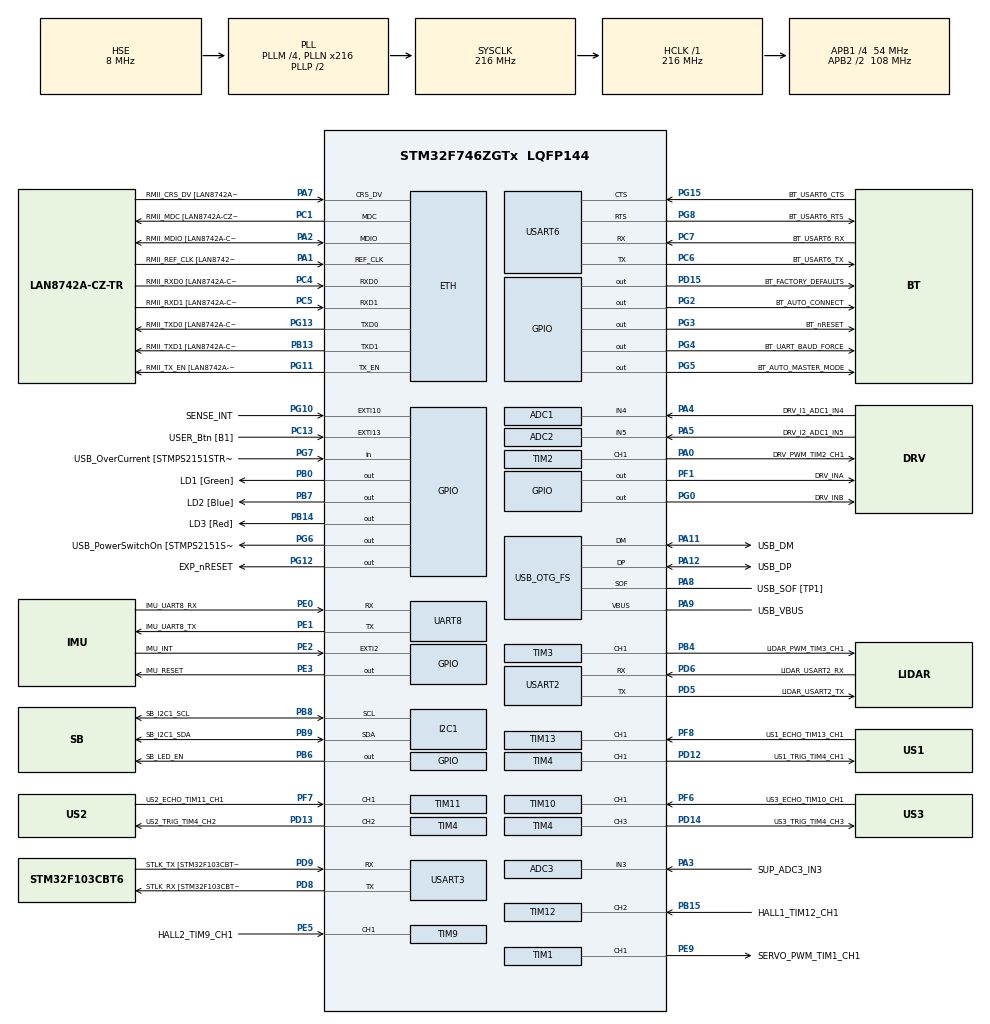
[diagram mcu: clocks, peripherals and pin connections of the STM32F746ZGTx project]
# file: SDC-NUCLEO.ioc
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ADC1.Channel-0\#ChannelRegularConversion=ADC_CHANNEL_4
ADC1.NbrOfConversionFlag=1
ADC1.Rank-0\#ChannelRegularConversion=1
ADC1.SamplingTime-0\#ChannelRegularConversion=ADC_SAMPLETIME_3CYCLES
ADC1.master=1
ADC2.Channel-3\#ChannelRegularConversion=ADC_CHANNEL_5
ADC2.NbrOfConversionFlag=1
ADC2.Rank-3\#ChannelRegularConversion=1
ADC2.SamplingTime-3\#ChannelRegularConversion=ADC_SAMPLETIME_3CYCLES
ADC3.Channel-0\#ChannelRegularConversion=ADC_CHANNEL_3
ADC3.NbrOfConversionFlag=1
ADC3.Rank-0\#ChannelRegularConversion=1
ADC3.SamplingTime-0\#ChannelRegularConversion=ADC_SAMPLETIME_3CYCLES
ETH.MediaInterface=ETH_MEDIA_INTERFACE_RMII
ETH.PHY_Name=LAN8742A_PHY_ADDRESS
ETH.PHY_Value=0
ETH.PhyAddress=0
FREERTOS.Tasks01=defaultTask,0,128,StartDefaultTask,Default,NULL
I2C1.Timing=0x20404768
Mcu.Family=STM32F7
Mcu.Name=STM32F746ZGTx
Mcu.Package=LQFP144
NVIC.PriorityGroup=NVIC_PRIORITYGROUP_4
NVIC.TIM8_TRG_COM_TIM14_IRQn=true\:0\:0\:false\:false\:true\:false\:false
NVIC.TimeBase=TIM8_TRG_COM_TIM14_IRQn
NVIC.TimeBaseIP=TIM14
NVIC.USART3_IRQn=true\:5\:0\:false\:false\:true\:true\:true
NVIC.USART6_IRQn=true\:5\:0\:false\:false\:true\:true\:true
PA0/WKUP.GPIO_Label=DRV_PWM_TIM2_CH1
PA0/WKUP.Signal=S_TIM2_CH1_ETR
PA1.GPIO_Label=RMII_REF_CLK [LAN8742A-CZ-TR_REFCLK0]
PA1.Mode=RMII
PA1.Signal=ETH_REF_CLK
PA10.GPIO_Label=USB_ID
PA10.Signal=USB_OTG_FS_ID
PA11.GPIO_Label=USB_DM
PA11.Mode=Device_Only
PA11.Signal=USB_OTG_FS_DM
PA12.GPIO_Label=USB_DP
PA12.Mode=Device_Only
PA12.Signal=USB_OTG_FS_DP
PA13.GPIO_Label=TMS
PA13.Mode=Serial_Wire
PA13.Signal=SYS_JTMS-SWDIO
PA14.GPIO_Label=TCK
PA14.Mode=Serial_Wire
PA14.Signal=SYS_JTCK-SWCLK
PA2.GPIO_Label=RMII_MDIO [LAN8742A-CZ-TR_MDIO]
PA2.Mode=RMII
PA2.Signal=ETH_MDIO
PA3.GPIO_Label=SUP_ADC3_IN3
PA3.Signal=ADCx_IN3
PA4.GPIO_Label=DRV_I1_ADC1_IN4
PA4.Signal=ADCx_IN4
PA5.GPIO_Label=DRV_I2_ADC1_IN5
PA5.Signal=ADCx_IN5
PA7.GPIO_Label=RMII_CRS_DV [LAN8742A-CZ-TR_CRS_DV]
PA7.Mode=RMII
PA7.Signal=ETH_CRS_DV
PA8.GPIO_Label=USB_SOF [TP1]
PA8.Mode=Activate_SOF_FS
PA8.Signal=USB_OTG_FS_SOF
PA9.GPIO_Label=USB_VBUS
PA9.Mode=Activate_VBUS
PA9.Signal=USB_OTG_FS_VBUS
PB0.GPIO_Label=LD1 [Green]
PB0.Signal=GPIO_Output
PB13.GPIO_Label=RMII_TXD1 [LAN8742A-CZ-TR_TXD1]
PB13.Mode=RMII
PB13.Signal=ETH_TXD1
PB14.GPIO_Label=LD3 [Red]
PB14.Signal=GPIO_Output
PB15.GPIO_Label=HALL1_TIM12_CH1
PB15.Signal=S_TIM12_CH2
PB3.GPIO_Label=SW0
PB3.Signal=SYS_JTDO-SWO
PB4.GPIO_Label=LIDAR_PWM_TIM3_CH1
PB4.Signal=S_TIM3_CH1
PB6.GPIO_Label=SB_LED_EN
PB6.Signal=GPIO_Output
PB7.GPIO_Label=LD2 [Blue]
PB7.Signal=GPIO_Output
PB8.GPIO_Label=SB_I2C1_SCL
PB8.Mode=I2C
PB8.Signal=I2C1_SCL
PB9.GPIO_Label=SB_I2C1_SDA
PB9.Mode=I2C
PB9.Signal=I2C1_SDA
PC1.GPIO_Label=RMII_MDC [LAN8742A-CZ-TR_MDC]
PC1.Mode=RMII
PC1.Signal=ETH_MDC
PC13.GPIO_Label=USER_Btn [B1]
PC13.Signal=GPXTI13
PC14/OSC32_IN.Mode=LSE-External-Oscillator
PC14/OSC32_IN.Signal=RCC_OSC32_IN
PC15/OSC32_OUT.Mode=LSE-External-Oscillator
PC15/OSC32_OUT.Signal=RCC_OSC32_OUT
PC4.GPIO_Label=RMII_RXD0 [LAN8742A-CZ-TR_RXD0]
PC4.Mode=RMII
PC4.Signal=ETH_RXD0
PC5.GPIO_Label=RMII_RXD1 [LAN8742A-CZ-TR_RXD1]
PC5.Mode=RMII
PC5.Signal=ETH_RXD1
PC6.GPIO_Label=BT_USART6_TX
PC6.Mode=Asynchronous
PC6.Signal=USART6_TX
PC7.GPIO_Label=BT_USART6_RX
PC7.Mode=Asynchronous
PC7.Signal=USART6_RX
PD12.GPIO_Label=US1_TRIG_TIM4_CH1
PD12.Signal=S_TIM4_CH1
PD13.GPIO_Label=US2_TRIG_TIM4_CH2
PD13.Signal=S_TIM4_CH2
PD14.GPIO_Label=US3_TRIG_TIM4_CH3
PD14.Signal=S_TIM4_CH3
PD15.GPIO_Label=BT_FACTORY_DEFAULTS
PD15.Signal=GPIO_Output
PD5.GPIO_Label=LIDAR_USART2_TX
PD5.Mode=Asynchronous
PD5.Signal=USART2_TX
PD6.GPIO_Label=LIDAR_USART2_RX
PD6.Mode=Asynchronous
PD6.Signal=USART2_RX
PD8.GPIO_Label=STLK_RX [STM32F103CBT6_PA3]
PD8.Mode=Asynchronous
PD8.Signal=USART3_TX
PD9.GPIO_Label=STLK_TX [STM32F103CBT6_PA2]
PD9.Mode=Asynchronous
PD9.Signal=USART3_RX
PE0.GPIO_Label=IMU_UART8_RX
PE0.Mode=Asynchronous
PE0.Signal=UART8_RX
PE1.GPIO_Label=IMU_UART8_TX
PE1.Mode=Asynchronous
PE1.Signal=UART8_TX
PE2.GPIO_Label=IMU_INT
PE2.Signal=GPXTI2
PE3.GPIO_Label=IMU_RESET
PE3.Signal=GPIO_Output
PE5.GPIO_Label=HALL2_TIM9_CH1
PE5.Signal=S_TIM9_CH1
PE9.GPIO_Label=SERVO_PWM_TIM1_CH1
PE9.Signal=S_TIM1_CH1
PF1.GPIO_Label=DRV_INA
PF1.Signal=GPIO_Output
PF6.GPIO_Label=US3_ECHO_TIM10_CH1
PF6.Signal=S_TIM10_CH1
PF7.GPIO_Label=US2_ECHO_TIM11_CH1
PF7.Signal=S_TIM11_CH1
PF8.GPIO_Label=US1_ECHO_TIM13_CH1
PF8.Signal=S_TIM13_CH1
PG0.GPIO_Label=DRV_INB
PG0.Signal=GPIO_Output
PG10.GPIO_Label=SENSE_INT
PG10.Signal=GPXTI10
PG11.GPIO_Label=RMII_TX_EN [LAN8742A-CZ-TR_TXEN]
PG11.Mode=RMII
PG11.Signal=ETH_TX_EN
PG12.GPIO_Label=EXP_nRESET
PG12.Signal=GPIO_Output
PG13.GPIO_Label=RMII_TXD0 [LAN8742A-CZ-TR_TXD0]
PG13.Mode=RMII
PG13.Signal=ETH_TXD0
PG15.GPIO_Label=BT_USART6_CTS
PG15.Mode=CTS_RTS
PG15.Signal=USART6_CTS
PG2.GPIO_Label=BT_AUTO_CONNECT
PG2.Signal=GPIO_Output
PG3.GPIO_Label=BT_nRESET
PG3.Signal=GPIO_Output
PG4.GPIO_Label=BT_UART_BAUD_FORCE
PG4.Signal=GPIO_Output
PG5.GPIO_Label=BT_AUTO_MASTER_MODE
PG5.Signal=GPIO_Output
PG6.GPIO_Label=USB_PowerSwitchOn [STMPS2151STR_EN]
PG6.Signal=GPIO_Output
PG7.GPIO_Label=USB_OverCurrent [STMPS2151STR_FAULT]
PG7.Signal=GPIO_Input
PG8.GPIO_Label=BT_USART6_RTS
PG8.Mode=CTS_RTS
PG8.Signal=USART6_RTS
PH0/OSC_IN.GPIO_Label=MCO [STM32F103CBT6_PA8]
PH0/OSC_IN.Mode=HSE-External-Clock-Source
PH0/OSC_IN.Signal=RCC_OSC_IN
PH1/OSC_OUT.Mode=HSE-External-Clock-Source
PH1/OSC_OUT.Signal=RCC_OSC_OUT
ProjectManager.HeapSize=0x200
ProjectManager.StackSize=0x400
ProjectManager.TargetToolchain=SW4STM32
RCC.48MHZClocksFreq_Value=24000000
RCC.AHBFreq_Value=216000000
RCC.APB1CLKDivider=RCC_HCLK_DIV4
RCC.APB1Freq_Value=54000000
RCC.APB1TimFreq_Value=108000000
RCC.APB2CLKDivider=RCC_HCLK_DIV2
RCC.APB2Freq_Value=108000000
RCC.APB2TimFreq_Value=216000000
RCC.CortexFreq_Value=216000000
RCC.HCLKFreq_Value=216000000
RCC.HSE_VALUE=8000000
RCC.HSI_VALUE=16000000
RCC.PLLM=4
RCC.PLLMUL=RCC_PLL_MUL9
RCC.PLLN=216
RCC.PLLQ=9
RCC.PRESCALERUSB=RCC_USBCLKSOURCE_PLL_DIV1_5
RCC.SYSCLKFreq_VALUE=216000000
RCC.SYSCLKSource=RCC_SYSCLKSOURCE_PLLCLK
RCC.SYSCLKSourceVirtual=RCC_SYSCLKSOURCE_PLLCLK
RCC.USBFreq_Value=48000000
RCC.VCOOutputFreq_Value=432000000
SH.ADCx_IN3.0=ADC3_IN3,IN3
SH.ADCx_IN4.0=ADC1_IN4,IN4
SH.ADCx_IN5.0=ADC2_IN5,IN5
SH.S_TIM10_CH1.0=TIM10_CH1,Input_Capture1_from_TI1
SH.S_TIM11_CH1.0=TIM11_CH1,Input_Capture1_from_TI1
SH.S_TIM12_CH2.0=TIM12_CH2,Input_Capture2_from_TI2
SH.S_TIM13_CH1.0=TIM13_CH1,Input_Capture1_from_TI1
SH.S_TIM1_CH1.0=TIM1_CH1,PWM Generation1 CH1
SH.S_TIM2_CH1_ETR.0=TIM2_CH1,PWM Generation1 CH1
SH.S_TIM3_CH1.0=TIM3_CH1,PWM Generation1 CH1
SH.S_TIM4_CH1.0=TIM4_CH1,PWM Generation1 CH1
SH.S_TIM4_CH2.0=TIM4_CH2,PWM Generation2 CH2
SH.S_TIM4_CH3.0=TIM4_CH3,PWM Generation3 CH3
SH.S_TIM9_CH1.0=TIM9_CH1,Input_Capture1_from_TI1
TIM1.Channel-PWM\ Generation1\ CH1=TIM_CHANNEL_1
TIM10.Channel=TIM_CHANNEL_1
TIM11.Channel=TIM_CHANNEL_1
TIM12.Channel-Input_Capture2_from_TI2=TIM_CHANNEL_2
TIM13.Channel=TIM_CHANNEL_1
TIM2.Channel-PWM\ Generation1\ CH1=TIM_CHANNEL_1
TIM3.Channel-PWM\ Generation1\ CH1=TIM_CHANNEL_1
TIM4.Channel-PWM\ Generation1\ CH1=TIM_CHANNEL_1
TIM4.Channel-PWM\ Generation2\ CH2=TIM_CHANNEL_2
TIM4.Channel-PWM\ Generation3\ CH3=TIM_CHANNEL_3
TIM9.Channel-Input_Capture1_from_TI1=TIM_CHANNEL_1
USART2.VirtualMode-Asynchronous=VM_ASYNC
USART3.VirtualMode-Asynchronous=VM_ASYNC
USART6.VirtualMode-Asynchronous=VM_ASYNC
USB_OTG_FS.VirtualMode=Device_Only
VP_FREERTOS_VS_ENABLE.Mode=Enabled
VP_SYS_VS_tim14.Mode=TIM14
VP_TIM10_VS_ClockSourceINT.Mode=Enable_Timer
VP_TIM11_VS_ClockSourceINT.Mode=Enable_Timer
VP_TIM13_VS_ClockSourceINT.Mode=Enable_Timer
board=NUCLEO-F746ZG

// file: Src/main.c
/* USER CODE BEGIN Header */
/**
  ******************************************************************************
  * @file           : main.c
  * @brief          : Main program body
  ******************************************************************************
  * This notice applies to any and all portions of this file
  * that are not between comment pairs USER CODE BEGIN and
  * USER CODE END. Other portions of this file, whether
  * inserted by the user or by software development tools
  * are owned by their respective copyright owners.
  *
  * Copyright (c) 2019 STMicroelectronics International N.V.
  * All rights reserved.
  *
  * Redistribution and use in source and binary forms, with or without
  * modification, are permitted, provided that the following conditions are met:
  *
  * 1. Redistribution of source code must retain the above copyright notice,
  *    this list of conditions and the following disclaimer.
  * 2. Redistributions in binary form must reproduce the above copyright notice,
  *    this list of conditions and the following disclaimer in the documentation
  *    and/or other materials provided with the distribution.
  * 3. Neither the name of STMicroelectronics nor the names of other
  *    contributors to this software may be used to endorse or promote products
  *    derived from this software without specific written permission.
  * 4. This software, including modifications and/or derivative works of this
  *    software, must execute solely and exclusively on microcontroller or
  *    microprocessor devices manufactured by or for STMicroelectronics.
  * 5. Redistribution and use of this software other than as permitted under
  *    this license is void and will automatically terminate your rights under
  *    this license.
  *
  * THIS SOFTWARE IS PROVIDED BY STMICROELECTRONICS AND CONTRIBUTORS "AS IS"
  * AND ANY EXPRESS, IMPLIED OR STATUTORY WARRANTIES, INCLUDING, BUT NOT
  * LIMITED TO, THE IMPLIED WARRANTIES OF MERCHANTABILITY, FITNESS FOR A
  * PARTICULAR PURPOSE AND NON-INFRINGEMENT OF THIRD PARTY INTELLECTUAL PROPERTY
  * RIGHTS ARE DISCLAIMED TO THE FULLEST EXTENT PERMITTED BY LAW. IN NO EVENT
  * SHALL STMICROELECTRONICS OR CONTRIBUTORS BE LIABLE FOR ANY DIRECT, INDIRECT,
  * INCIDENTAL, SPECIAL, EXEMPLARY, OR CONSEQUENTIAL DAMAGES (INCLUDING, BUT NOT
  * LIMITED TO, PROCUREMENT OF SUBSTITUTE GOODS OR SERVICES; LOSS OF USE, DATA,
  * OR PROFITS; OR BUSINESS INTERRUPTION) HOWEVER CAUSED AND ON ANY THEORY OF
  * LIABILITY, WHETHER IN CONTRACT, STRICT LIABILITY, OR TORT (INCLUDING
  * NEGLIGENCE OR OTHERWISE) ARISING IN ANY WAY OUT OF THE USE OF THIS SOFTWARE,
  * EVEN IF ADVISED OF THE POSSIBILITY OF SUCH DAMAGE.
  *
  ******************************************************************************
  */
/* USER CODE END Header */

#include "main.h"
#include "cmsis_os.h"

/* USER CODE BEGIN Includes */
#include <string.h>
#include <math.h>
#include <stdlib.h>
/* USER CODE END Includes */

/* USER CODE BEGIN PTD */
typedef enum printf_modes{
   USB,
   BLUETOOTH,
   BOTH
} printf_modes_t;

typedef enum command_result{
    INVALID_ARGUMENT,
    BAD_COMMAND,
    OK,
    ER_MODE
}command_result_t;

typedef enum servo_direction {
    SERVO_RIGHT,
    SERVO_LEFT
} servo_direction_t;

typedef enum ultra_sonic_mode {
    US_ENABLE,
    US_DISABLE,
    US_DISTANCE

} ultra_sonic_mode_t;

typedef enum rgb_sensor_list {
    R,
    G,
    B,
    C,
    COLOR
} rgb_sensor_list_t;

typedef enum rgb_led_power {
    ON,
    OFF
} rgb_led_power_t;

typedef enum motor_direction
{
   FORWARD,
   BACKWARD
}motor_direction_t;
/* USER CODE END PTD */

/* USER CODE BEGIN PD */
#define UART_PUTCHAR int __io_putchar(int ch)
/* USER CODE END PD */

ADC_HandleTypeDef hadc1;
ADC_HandleTypeDef hadc2;
ADC_HandleTypeDef hadc3;

ETH_HandleTypeDef heth;

I2C_HandleTypeDef hi2c1;

TIM_HandleTypeDef htim1;
TIM_HandleTypeDef htim2;
TIM_HandleTypeDef htim3;
TIM_HandleTypeDef htim4;
TIM_HandleTypeDef htim9;
TIM_HandleTypeDef htim10;
TIM_HandleTypeDef htim11;
TIM_HandleTypeDef htim12;
TIM_HandleTypeDef htim13;

UART_HandleTypeDef huart8;
UART_HandleTypeDef huart2;
UART_HandleTypeDef huart3;
UART_HandleTypeDef huart6;

PCD_HandleTypeDef hpcd_USB_OTG_FS;

osThreadId defaultTaskHandle;
/* USER CODE BEGIN PV */
char tmp[1];
char buffer[32];
int counter = 0;
char commands[32];

volatile int hall_overflow = 0;
volatile int hall_previous = 0;
volatile float moving_speed_kmh;

printf_modes_t printf_mode = BOTH;

motor_direction_t motor_direction = FORWARD;

void drive(int speed);
void brake();
void parse_command(char *input);
command_result_t parse_servo_command(char *input);
command_result_t parse_motor_command(char *input);
command_result_t parse_rgb_sensor_command(char *input);
command_result_t parse_ultra_sonic_command(char *input);
command_result_t parse_rgb_led_command(char *input);
command_result_t parse_print_command(char *input);
void servo_control(servo_direction_t, int percentage);
void motor_control(motor_direction_t, int percentage);
void rgb_control(rgb_sensor_list_t, int led_numb);
void us_control(ultra_sonic_mode_t);
void rgb_led_control(rgb_led_power_t, int led_numb);
void print_control(printf_modes_t);
void emergency_mode();

/* USER CODE END PV */

void SystemClock_Config(void);
static void MX_GPIO_Init(void);
static void MX_ADC1_Init(void);
static void MX_ADC2_Init(void);
static void MX_ADC3_Init(void);
static void MX_ETH_Init(void);
static void MX_I2C1_Init(void);
static void MX_TIM1_Init(void);
static void MX_TIM2_Init(void);
static void MX_TIM3_Init(void);
static void MX_TIM4_Init(void);
static void MX_TIM9_Init(void);
static void MX_TIM10_Init(void);
static void MX_TIM11_Init(void);
static void MX_TIM12_Init(void);
static void MX_TIM13_Init(void);
static void MX_UART8_Init(void);
static void MX_USART2_UART_Init(void);
static void MX_USART3_UART_Init(void);
static void MX_USART6_UART_Init(void);
static void MX_USB_OTG_FS_PCD_Init(void);
void StartDefaultTask(void const * argument);

int main(void)
{

  /* MCU Configuration--------------------------------------------------------*/

  /* Reset of all peripherals, Initializes the Flash interface and the Systick. */
  HAL_Init();

  /* Configure the system clock */
  SystemClock_Config();

  /* Initialize all configured peripherals */
  MX_GPIO_Init();
  MX_ADC1_Init();
  MX_ADC2_Init();
  MX_ADC3_Init();
  MX_ETH_Init();
  MX_I2C1_Init();
  MX_TIM1_Init();
  MX_TIM2_Init();
  MX_TIM3_Init();
  MX_TIM4_Init();
  MX_TIM9_Init();
  MX_TIM10_Init();
  MX_TIM11_Init();
  MX_TIM12_Init();
  MX_TIM13_Init();
  MX_UART8_Init();
  MX_USART2_UART_Init();
  MX_USART3_UART_Init();
  MX_USART6_UART_Init();
  MX_USB_OTG_FS_PCD_Init();

  /* Create the thread(s) */
  /* definition and creation of defaultTask */
  osThreadDef(defaultTask, StartDefaultTask, osPriorityNormal, 0, 128);
  defaultTaskHandle = osThreadCreate(osThread(defaultTask), NULL);

  /* Start scheduler */
  osKernelStart();

  /* We should never get here as control is now taken by the scheduler */

  /* Infinite loop */
  while (1)
  {

  }
}

void SystemClock_Config(void)
{
  RCC_OscInitTypeDef RCC_OscInitStruct = {0};
  RCC_ClkInitTypeDef RCC_ClkInitStruct = {0};
  RCC_PeriphCLKInitTypeDef PeriphClkInitStruct = {0};

  /**Configure LSE Drive Capability
  */
  HAL_PWR_EnableBkUpAccess();
  /**Configure the main internal regulator output voltage
  */
  __HAL_RCC_PWR_CLK_ENABLE();
  __HAL_PWR_VOLTAGESCALING_CONFIG(PWR_REGULATOR_VOLTAGE_SCALE1);
  /**Initializes the CPU, AHB and APB busses clocks
  */
  RCC_OscInitStruct.OscillatorType = RCC_OSCILLATORTYPE_HSI|RCC_OSCILLATORTYPE_HSE;
  RCC_OscInitStruct.HSEState = RCC_HSE_BYPASS;
  RCC_OscInitStruct.HSIState = RCC_HSI_ON;
  RCC_OscInitStruct.HSICalibrationValue = RCC_HSICALIBRATION_DEFAULT;
  RCC_OscInitStruct.PLL.PLLState = RCC_PLL_ON;
  RCC_OscInitStruct.PLL.PLLSource = RCC_PLLSOURCE_HSE;
  RCC_OscInitStruct.PLL.PLLM = 4;
  RCC_OscInitStruct.PLL.PLLN = 216;
  RCC_OscInitStruct.PLL.PLLP = RCC_PLLP_DIV2;
  RCC_OscInitStruct.PLL.PLLQ = 9;
  if (HAL_RCC_OscConfig(&RCC_OscInitStruct) != HAL_OK)
  {
    Error_Handler();
  }
  /**Activate the Over-Drive mode
  */
  if (HAL_PWREx_EnableOverDrive() != HAL_OK)
  {
    Error_Handler();
  }
  /**Initializes the CPU, AHB and APB busses clocks
  */
  RCC_ClkInitStruct.ClockType = RCC_CLOCKTYPE_HCLK|RCC_CLOCKTYPE_SYSCLK
                              |RCC_CLOCKTYPE_PCLK1|RCC_CLOCKTYPE_PCLK2;
  RCC_ClkInitStruct.SYSCLKSource = RCC_SYSCLKSOURCE_PLLCLK;
  RCC_ClkInitStruct.AHBCLKDivider = RCC_SYSCLK_DIV1;
  RCC_ClkInitStruct.APB1CLKDivider = RCC_HCLK_DIV4;
  RCC_ClkInitStruct.APB2CLKDivider = RCC_HCLK_DIV2;

  if (HAL_RCC_ClockConfig(&RCC_ClkInitStruct, FLASH_LATENCY_7) != HAL_OK)
  {
    Error_Handler();
  }
  PeriphClkInitStruct.PeriphClockSelection = RCC_PERIPHCLK_USART2|RCC_PERIPHCLK_USART3
                              |RCC_PERIPHCLK_USART6|RCC_PERIPHCLK_UART8
                              |RCC_PERIPHCLK_I2C1|RCC_PERIPHCLK_CLK48;
  PeriphClkInitStruct.Usart2ClockSelection = RCC_USART2CLKSOURCE_PCLK1;
  PeriphClkInitStruct.Usart3ClockSelection = RCC_USART3CLKSOURCE_PCLK1;
  PeriphClkInitStruct.Usart6ClockSelection = RCC_USART6CLKSOURCE_PCLK2;
  PeriphClkInitStruct.Uart8ClockSelection = RCC_UART8CLKSOURCE_PCLK1;
  PeriphClkInitStruct.I2c1ClockSelection = RCC_I2C1CLKSOURCE_PCLK1;
  PeriphClkInitStruct.Clk48ClockSelection = RCC_CLK48SOURCE_PLL;
  if (HAL_RCCEx_PeriphCLKConfig(&PeriphClkInitStruct) != HAL_OK)
  {
    Error_Handler();
  }
  HAL_RCC_MCOConfig(RCC_MCO1, RCC_MCO1SOURCE_HSI, RCC_MCODIV_1);
}

static void MX_ADC1_Init(void)
{

  ADC_ChannelConfTypeDef sConfig = {0};

  /**Configure the global features of the ADC (Clock, Resolution, Data Alignment and number of conversion)
  */
  hadc1.Instance = ADC1;
  hadc1.Init.ClockPrescaler = ADC_CLOCK_SYNC_PCLK_DIV4;
  hadc1.Init.Resolution = ADC_RESOLUTION_12B;
  hadc1.Init.ScanConvMode = ADC_SCAN_DISABLE;
  hadc1.Init.ContinuousConvMode = DISABLE;
  hadc1.Init.DiscontinuousConvMode = DISABLE;
  hadc1.Init.ExternalTrigConvEdge = ADC_EXTERNALTRIGCONVEDGE_NONE;
  hadc1.Init.ExternalTrigConv = ADC_SOFTWARE_START;
  hadc1.Init.DataAlign = ADC_DATAALIGN_RIGHT;
  hadc1.Init.NbrOfConversion = 1;
  hadc1.Init.DMAContinuousRequests = DISABLE;
  hadc1.Init.EOCSelection = ADC_EOC_SINGLE_CONV;
  if (HAL_ADC_Init(&hadc1) != HAL_OK)
  {
    Error_Handler();
  }
  /**Configure for the selected ADC regular channel its corresponding rank in the sequencer and its sample time.
  */
  sConfig.Channel = ADC_CHANNEL_4;
  sConfig.Rank = ADC_REGULAR_RANK_1;
  sConfig.SamplingTime = ADC_SAMPLETIME_3CYCLES;
  if (HAL_ADC_ConfigChannel(&hadc1, &sConfig) != HAL_OK)
  {
    Error_Handler();
  }

}

static void MX_ADC2_Init(void)
{

  ADC_ChannelConfTypeDef sConfig = {0};

  /**Configure the global features of the ADC (Clock, Resolution, Data Alignment and number of conversion)
  */
  hadc2.Instance = ADC2;
  hadc2.Init.ClockPrescaler = ADC_CLOCK_SYNC_PCLK_DIV4;
  hadc2.Init.Resolution = ADC_RESOLUTION_12B;
  hadc2.Init.ScanConvMode = ADC_SCAN_DISABLE;
  hadc2.Init.ContinuousConvMode = DISABLE;
  hadc2.Init.DiscontinuousConvMode = DISABLE;
  hadc2.Init.ExternalTrigConvEdge = ADC_EXTERNALTRIGCONVEDGE_NONE;
  hadc2.Init.ExternalTrigConv = ADC_SOFTWARE_START;
  hadc2.Init.DataAlign = ADC_DATAALIGN_RIGHT;
  hadc2.Init.NbrOfConversion = 1;
  hadc2.Init.DMAContinuousRequests = DISABLE;
  hadc2.Init.EOCSelection = ADC_EOC_SINGLE_CONV;
  if (HAL_ADC_Init(&hadc2) != HAL_OK)
  {
    Error_Handler();
  }
  /**Configure for the selected ADC regular channel its corresponding rank in the sequencer and its sample time.
  */
  sConfig.Channel = ADC_CHANNEL_5;
  sConfig.Rank = ADC_REGULAR_RANK_1;
  sConfig.SamplingTime = ADC_SAMPLETIME_3CYCLES;
  if (HAL_ADC_ConfigChannel(&hadc2, &sConfig) != HAL_OK)
  {
    Error_Handler();
  }

}

static void MX_ADC3_Init(void)
{

  ADC_ChannelConfTypeDef sConfig = {0};

  /**Configure the global features of the ADC (Clock, Resolution, Data Alignment and number of conversion)
  */
  hadc3.Instance = ADC3;
  hadc3.Init.ClockPrescaler = ADC_CLOCK_SYNC_PCLK_DIV4;
  hadc3.Init.Resolution = ADC_RESOLUTION_12B;
  hadc3.Init.ScanConvMode = ADC_SCAN_DISABLE;
  hadc3.Init.ContinuousConvMode = DISABLE;
  hadc3.Init.DiscontinuousConvMode = DISABLE;
  hadc3.Init.ExternalTrigConvEdge = ADC_EXTERNALTRIGCONVEDGE_NONE;
  hadc3.Init.ExternalTrigConv = ADC_SOFTWARE_START;
  hadc3.Init.DataAlign = ADC_DATAALIGN_RIGHT;
  hadc3.Init.NbrOfConversion = 1;
  hadc3.Init.DMAContinuousRequests = DISABLE;
  hadc3.Init.EOCSelection = ADC_EOC_SINGLE_CONV;
  if (HAL_ADC_Init(&hadc3) != HAL_OK)
  {
    Error_Handler();
  }
  /**Configure for the selected ADC regular channel its corresponding rank in the sequencer and its sample time.
  */
  sConfig.Channel = ADC_CHANNEL_3;
  sConfig.Rank = ADC_REGULAR_RANK_1;
  sConfig.SamplingTime = ADC_SAMPLETIME_3CYCLES;
  if (HAL_ADC_ConfigChannel(&hadc3, &sConfig) != HAL_OK)
  {
    Error_Handler();
  }

}

static void MX_ETH_Init(void)
{

   uint8_t MACAddr[6] ;

  heth.Instance = ETH;
  heth.Init.AutoNegotiation = ETH_AUTONEGOTIATION_ENABLE;
  heth.Init.PhyAddress = LAN8742A_PHY_ADDRESS;
  MACAddr[0] = 0x00;
  MACAddr[1] = 0x80;
  MACAddr[2] = 0xE1;
  MACAddr[3] = 0x00;
  MACAddr[4] = 0x00;
  MACAddr[5] = 0x00;
  heth.Init.MACAddr = &MACAddr[0];
  heth.Init.RxMode = ETH_RXPOLLING_MODE;
  heth.Init.ChecksumMode = ETH_CHECKSUM_BY_HARDWARE;
  heth.Init.MediaInterface = ETH_MEDIA_INTERFACE_RMII;

  if (HAL_ETH_Init(&heth) != HAL_OK)
  {
    Error_Handler();
  }

}

static void MX_I2C1_Init(void)
{

  hi2c1.Instance = I2C1;
  hi2c1.Init.Timing = 0x20404768;
  hi2c1.Init.OwnAddress1 = 0;
  hi2c1.Init.AddressingMode = I2C_ADDRESSINGMODE_7BIT;
  hi2c1.Init.DualAddressMode = I2C_DUALADDRESS_DISABLE;
  hi2c1.Init.OwnAddress2 = 0;
  hi2c1.Init.OwnAddress2Masks = I2C_OA2_NOMASK;
  hi2c1.Init.GeneralCallMode = I2C_GENERALCALL_DISABLE;
  hi2c1.Init.NoStretchMode = I2C_NOSTRETCH_DISABLE;
  if (HAL_I2C_Init(&hi2c1) != HAL_OK)
  {
    Error_Handler();
  }
  /**Configure Analogue filter
  */
  if (HAL_I2CEx_ConfigAnalogFilter(&hi2c1, I2C_ANALOGFILTER_ENABLE) != HAL_OK)
  {
    Error_Handler();
  }
  /**Configure Digital filter
  */
  if (HAL_I2CEx_ConfigDigitalFilter(&hi2c1, 0) != HAL_OK)
  {
    Error_Handler();
  }

}

static void MX_TIM1_Init(void)
{

  TIM_MasterConfigTypeDef sMasterConfig = {0};
  TIM_OC_InitTypeDef sConfigOC = {0};
  TIM_BreakDeadTimeConfigTypeDef sBreakDeadTimeConfig = {0};

  htim1.Instance = TIM1;
  htim1.Init.Prescaler = 4320-1;
  htim1.Init.CounterMode = TIM_COUNTERMODE_UP;
  htim1.Init.Period = 1000-1;
  htim1.Init.ClockDivision = TIM_CLOCKDIVISION_DIV1;
  htim1.Init.RepetitionCounter = 0;
  htim1.Init.AutoReloadPreload = TIM_AUTORELOAD_PRELOAD_DISABLE;
  if (HAL_TIM_PWM_Init(&htim1) != HAL_OK)
  {
    Error_Handler();
  }
  sMasterConfig.MasterOutputTrigger = TIM_TRGO_RESET;
  sMasterConfig.MasterOutputTrigger2 = TIM_TRGO2_RESET;
  sMasterConfig.MasterSlaveMode = TIM_MASTERSLAVEMODE_DISABLE;
  if (HAL_TIMEx_MasterConfigSynchronization(&htim1, &sMasterConfig) != HAL_OK)
  {
    Error_Handler();
  }
  sConfigOC.OCMode = TIM_OCMODE_PWM1;
  sConfigOC.Pulse = 0;
  sConfigOC.OCPolarity = TIM_OCPOLARITY_HIGH;
  sConfigOC.OCNPolarity = TIM_OCNPOLARITY_HIGH;
  sConfigOC.OCFastMode = TIM_OCFAST_DISABLE;
  sConfigOC.OCIdleState = TIM_OCIDLESTATE_RESET;
  sConfigOC.OCNIdleState = TIM_OCNIDLESTATE_RESET;
  if (HAL_TIM_PWM_ConfigChannel(&htim1, &sConfigOC, TIM_CHANNEL_1) != HAL_OK)
  {
    Error_Handler();
  }
  sBreakDeadTimeConfig.OffStateRunMode = TIM_OSSR_DISABLE;
  sBreakDeadTimeConfig.OffStateIDLEMode = TIM_OSSI_DISABLE;
  sBreakDeadTimeConfig.LockLevel = TIM_LOCKLEVEL_OFF;
  sBreakDeadTimeConfig.DeadTime = 0;
  sBreakDeadTimeConfig.BreakState = TIM_BREAK_DISABLE;
  sBreakDeadTimeConfig.BreakPolarity = TIM_BREAKPOLARITY_HIGH;
  sBreakDeadTimeConfig.BreakFilter = 0;
  sBreakDeadTimeConfig.Break2State = TIM_BREAK2_DISABLE;
  sBreakDeadTimeConfig.Break2Polarity = TIM_BREAK2POLARITY_HIGH;
  sBreakDeadTimeConfig.Break2Filter = 0;
  sBreakDeadTimeConfig.AutomaticOutput = TIM_AUTOMATICOUTPUT_DISABLE;
  if (HAL_TIMEx_ConfigBreakDeadTime(&htim1, &sBreakDeadTimeConfig) != HAL_OK)
  {
    Error_Handler();
  }
  /* USER CODE BEGIN TIM1_Init 2 */
  HAL_TIM_PWM_Start(&htim1, TIM_CHANNEL_1);
  /* USER CODE END TIM1_Init 2 */
  HAL_TIM_MspPostInit(&htim1);

}

static void MX_TIM2_Init(void)
{

  TIM_MasterConfigTypeDef sMasterConfig = {0};
  TIM_OC_InitTypeDef sConfigOC = {0};

  htim2.Instance = TIM2;
  htim2.Init.Prescaler = 1;
  htim2.Init.CounterMode = TIM_COUNTERMODE_UP;
  htim2.Init.Period = 400;
  htim2.Init.ClockDivision = TIM_CLOCKDIVISION_DIV1;
  htim2.Init.AutoReloadPreload = TIM_AUTORELOAD_PRELOAD_DISABLE;
  if (HAL_TIM_PWM_Init(&htim2) != HAL_OK) {
      Error_Handler();
  }
  sMasterConfig.MasterOutputTrigger = TIM_TRGO_RESET;
  sMasterConfig.MasterSlaveMode = TIM_MASTERSLAVEMODE_DISABLE;
  if (HAL_TIMEx_MasterConfigSynchronization(&htim2, &sMasterConfig) != HAL_OK) {
    Error_Handler();
  }
  sConfigOC.OCMode = TIM_OCMODE_PWM1;
  sConfigOC.Pulse = 10;
  sConfigOC.OCPolarity = TIM_OCPOLARITY_HIGH;
  sConfigOC.OCFastMode = TIM_OCFAST_DISABLE;
  if (HAL_TIM_PWM_ConfigChannel(&htim2, &sConfigOC, TIM_CHANNEL_1) != HAL_OK) {
      Error_Handler();
  }
  /* USER CODE BEGIN TIM2_Init 2 */
  HAL_TIM_MspPostInit(&htim2);
  // STARTING PWM/TIMER FOR MOTOR DRIVE
  HAL_TIM_Base_Start(&htim2);
  HAL_TIM_PWM_Start(&htim2, TIM_CHANNEL_1);
  /* USER CODE END TIM2_Init 2 */
  HAL_TIM_MspPostInit(&htim2);

}

static void MX_TIM3_Init(void)
{

  TIM_MasterConfigTypeDef sMasterConfig = {0};
  TIM_OC_InitTypeDef sConfigOC = {0};

  htim3.Instance = TIM3;
  htim3.Init.Prescaler = 0;
  htim3.Init.CounterMode = TIM_COUNTERMODE_UP;
  htim3.Init.Period = 0;
  htim3.Init.ClockDivision = TIM_CLOCKDIVISION_DIV1;
  htim3.Init.AutoReloadPreload = TIM_AUTORELOAD_PRELOAD_DISABLE;
  if (HAL_TIM_PWM_Init(&htim3) != HAL_OK)
  {
    Error_Handler();
  }
  sMasterConfig.MasterOutputTrigger = TIM_TRGO_RESET;
  sMasterConfig.MasterSlaveMode = TIM_MASTERSLAVEMODE_DISABLE;
  if (HAL_TIMEx_MasterConfigSynchronization(&htim3, &sMasterConfig) != HAL_OK)
  {
    Error_Handler();
  }
  sConfigOC.OCMode = TIM_OCMODE_PWM1;
  sConfigOC.Pulse = 0;
  sConfigOC.OCPolarity = TIM_OCPOLARITY_HIGH;
  sConfigOC.OCFastMode = TIM_OCFAST_DISABLE;
  if (HAL_TIM_PWM_ConfigChannel(&htim3, &sConfigOC, TIM_CHANNEL_1) != HAL_OK)
  {
    Error_Handler();
  }
  HAL_TIM_MspPostInit(&htim3);

}

static void MX_TIM4_Init(void)
{

  TIM_MasterConfigTypeDef sMasterConfig = {0};
  TIM_OC_InitTypeDef sConfigOC = {0};

  htim4.Instance = TIM4;
  htim4.Init.Prescaler = 0;
  htim4.Init.CounterMode = TIM_COUNTERMODE_UP;
  htim4.Init.Period = 0;
  htim4.Init.ClockDivision = TIM_CLOCKDIVISION_DIV1;
  htim4.Init.AutoReloadPreload = TIM_AUTORELOAD_PRELOAD_DISABLE;
  if (HAL_TIM_PWM_Init(&htim4) != HAL_OK)
  {
    Error_Handler();
  }
  sMasterConfig.MasterOutputTrigger = TIM_TRGO_RESET;
  sMasterConfig.MasterSlaveMode = TIM_MASTERSLAVEMODE_DISABLE;
  if (HAL_TIMEx_MasterConfigSynchronization(&htim4, &sMasterConfig) != HAL_OK)
  {
    Error_Handler();
  }
  sConfigOC.OCMode = TIM_OCMODE_PWM1;
  sConfigOC.Pulse = 0;
  sConfigOC.OCPolarity = TIM_OCPOLARITY_HIGH;
  sConfigOC.OCFastMode = TIM_OCFAST_DISABLE;
  if (HAL_TIM_PWM_ConfigChannel(&htim4, &sConfigOC, TIM_CHANNEL_1) != HAL_OK)
  {
    Error_Handler();
  }
  if (HAL_TIM_PWM_ConfigChannel(&htim4, &sConfigOC, TIM_CHANNEL_2) != HAL_OK)
  {
    Error_Handler();
  }
  if (HAL_TIM_PWM_ConfigChannel(&htim4, &sConfigOC, TIM_CHANNEL_3) != HAL_OK)
  {
    Error_Handler();
  }
  HAL_TIM_MspPostInit(&htim4);

}

static void MX_TIM9_Init(void)
{

  TIM_IC_InitTypeDef sConfigIC = {0};

  htim9.Instance = TIM9;
  htim9.Init.Prescaler = 0;
  htim9.Init.CounterMode = TIM_COUNTERMODE_UP;
  htim9.Init.Period = 65535;
  htim9.Init.ClockDivision = TIM_CLOCKDIVISION_DIV1;
  htim9.Init.AutoReloadPreload = TIM_AUTORELOAD_PRELOAD_DISABLE;
  if (HAL_TIM_IC_Init(&htim9) != HAL_OK)
  {
    Error_Handler();
  }

  HAL_NVIC_SetPriority(TIM1_BRK_TIM9_IRQn, 0x01, 0x00);
  HAL_NVIC_EnableIRQ(TIM1_BRK_TIM9_IRQn);

  HAL_TIM_Base_Start_IT(&htim9);

  sConfigIC.ICPolarity = TIM_INPUTCHANNELPOLARITY_FALLING;
  sConfigIC.ICSelection = TIM_ICSELECTION_DIRECTTI;
  sConfigIC.ICPrescaler = TIM_ICPSC_DIV1;
  sConfigIC.ICFilter = 5;
  if (HAL_TIM_IC_ConfigChannel(&htim9, &sConfigIC, TIM_CHANNEL_1) != HAL_OK)
  {
    Error_Handler();
  }

  /* USER CODE BEGIN TIM9_Init 2 */
  HAL_TIM_IC_Start_IT(&htim9, TIM_CHANNEL_1);
  /* USER CODE END TIM9_Init 2 */

}

static void MX_TIM10_Init(void)
{

  TIM_IC_InitTypeDef sConfigIC = {0};

  htim10.Instance = TIM10;
  htim10.Init.Prescaler = 0;
  htim10.Init.CounterMode = TIM_COUNTERMODE_UP;
  htim10.Init.Period = 0;
  htim10.Init.ClockDivision = TIM_CLOCKDIVISION_DIV1;
  htim10.Init.AutoReloadPreload = TIM_AUTORELOAD_PRELOAD_DISABLE;
  if (HAL_TIM_Base_Init(&htim10) != HAL_OK)
  {
    Error_Handler();
  }
  if (HAL_TIM_IC_Init(&htim10) != HAL_OK)
  {
    Error_Handler();
  }
  sConfigIC.ICPolarity = TIM_INPUTCHANNELPOLARITY_RISING;
  sConfigIC.ICSelection = TIM_ICSELECTION_DIRECTTI;
  sConfigIC.ICPrescaler = TIM_ICPSC_DIV1;
  sConfigIC.ICFilter = 0;
  if (HAL_TIM_IC_ConfigChannel(&htim10, &sConfigIC, TIM_CHANNEL_1) != HAL_OK)
  {
    Error_Handler();
  }

}

static void MX_TIM11_Init(void)
{

  TIM_IC_InitTypeDef sConfigIC = {0};

  htim11.Instance = TIM11;
  htim11.Init.Prescaler = 0;
  htim11.Init.CounterMode = TIM_COUNTERMODE_UP;
  htim11.Init.Period = 0;
  htim11.Init.ClockDivision = TIM_CLOCKDIVISION_DIV1;
  htim11.Init.AutoReloadPreload = TIM_AUTORELOAD_PRELOAD_DISABLE;
  if (HAL_TIM_Base_Init(&htim11) != HAL_OK)
  {
    Error_Handler();
  }
  if (HAL_TIM_IC_Init(&htim11) != HAL_OK)
  {
    Error_Handler();
  }
  sConfigIC.ICPolarity = TIM_INPUTCHANNELPOLARITY_RISING;
  sConfigIC.ICSelection = TIM_ICSELECTION_DIRECTTI;
  sConfigIC.ICPrescaler = TIM_ICPSC_DIV1;
  sConfigIC.ICFilter = 0;
  if (HAL_TIM_IC_ConfigChannel(&htim11, &sConfigIC, TIM_CHANNEL_1) != HAL_OK)
  {
    Error_Handler();
  }

}

static void MX_TIM12_Init(void)
{

  TIM_IC_InitTypeDef sConfigIC = {0};

  htim12.Instance = TIM12;
  htim12.Init.Prescaler = 0;
  htim12.Init.CounterMode = TIM_COUNTERMODE_UP;
  htim12.Init.Period = 0;
  htim12.Init.ClockDivision = TIM_CLOCKDIVISION_DIV1;
  htim12.Init.AutoReloadPreload = TIM_AUTORELOAD_PRELOAD_DISABLE;
  if (HAL_TIM_IC_Init(&htim12) != HAL_OK)
  {
    Error_Handler();
  }
  sConfigIC.ICPolarity = TIM_INPUTCHANNELPOLARITY_RISING;
  sConfigIC.ICSelection = TIM_ICSELECTION_DIRECTTI;
  sConfigIC.ICPrescaler = TIM_ICPSC_DIV1;
  sConfigIC.ICFilter = 0;
  if (HAL_TIM_IC_ConfigChannel(&htim12, &sConfigIC, TIM_CHANNEL_2) != HAL_OK)
  {
    Error_Handler();
  }

}

static void MX_TIM13_Init(void)
{

  TIM_IC_InitTypeDef sConfigIC = {0};

  htim13.Instance = TIM13;
  htim13.Init.Prescaler = 0;
  htim13.Init.CounterMode = TIM_COUNTERMODE_UP;
  htim13.Init.Period = 0;
  htim13.Init.ClockDivision = TIM_CLOCKDIVISION_DIV1;
  htim13.Init.AutoReloadPreload = TIM_AUTORELOAD_PRELOAD_DISABLE;
  if (HAL_TIM_Base_Init(&htim13) != HAL_OK)
  {
    Error_Handler();
  }
  if (HAL_TIM_IC_Init(&htim13) != HAL_OK)
  {
    Error_Handler();
  }
  sConfigIC.ICPolarity = TIM_INPUTCHANNELPOLARITY_RISING;
  sConfigIC.ICSelection = TIM_ICSELECTION_DIRECTTI;
  sConfigIC.ICPrescaler = TIM_ICPSC_DIV1;
  sConfigIC.ICFilter = 0;
  if (HAL_TIM_IC_ConfigChannel(&htim13, &sConfigIC, TIM_CHANNEL_1) != HAL_OK)
  {
    Error_Handler();
  }

}

static void MX_UART8_Init(void)
{

  huart8.Instance = UART8;
  huart8.Init.BaudRate = 115200;
  huart8.Init.WordLength = UART_WORDLENGTH_8B;
  huart8.Init.StopBits = UART_STOPBITS_1;
  huart8.Init.Parity = UART_PARITY_NONE;
  huart8.Init.Mode = UART_MODE_TX_RX;
  huart8.Init.HwFlowCtl = UART_HWCONTROL_NONE;
  huart8.Init.OverSampling = UART_OVERSAMPLING_16;
  huart8.Init.OneBitSampling = UART_ONE_BIT_SAMPLE_DISABLE;
  huart8.AdvancedInit.AdvFeatureInit = UART_ADVFEATURE_NO_INIT;
  if (HAL_UART_Init(&huart8) != HAL_OK)
  {
    Error_Handler();
  }

}

static void MX_USART2_UART_Init(void)
{

  huart2.Instance = USART2;
  huart2.Init.BaudRate = 115200;
  huart2.Init.WordLength = UART_WORDLENGTH_8B;
  huart2.Init.StopBits = UART_STOPBITS_1;
  huart2.Init.Parity = UART_PARITY_NONE;
  huart2.Init.Mode = UART_MODE_TX_RX;
  huart2.Init.HwFlowCtl = UART_HWCONTROL_NONE;
  huart2.Init.OverSampling = UART_OVERSAMPLING_16;
  huart2.Init.OneBitSampling = UART_ONE_BIT_SAMPLE_DISABLE;
  huart2.AdvancedInit.AdvFeatureInit = UART_ADVFEATURE_NO_INIT;
  if (HAL_UART_Init(&huart2) != HAL_OK)
  {
    Error_Handler();
  }

}

static void MX_USART3_UART_Init(void)
{

  huart3.Instance = USART3;
  huart3.Init.BaudRate = 115200;
  huart3.Init.WordLength = UART_WORDLENGTH_8B;
  huart3.Init.StopBits = UART_STOPBITS_1;
  huart3.Init.Parity = UART_PARITY_NONE;
  huart3.Init.Mode = UART_MODE_TX_RX;
  huart3.Init.HwFlowCtl = UART_HWCONTROL_NONE;
  huart3.Init.OverSampling = UART_OVERSAMPLING_16;
  huart3.Init.OneBitSampling = UART_ONE_BIT_SAMPLE_DISABLE;
  huart3.AdvancedInit.AdvFeatureInit = UART_ADVFEATURE_NO_INIT;
  if (HAL_UART_Init(&huart3) != HAL_OK)
  {
    Error_Handler();
  }
  /* USER CODE BEGIN USART3_Init 2 */
  HAL_UART_Receive_IT(&huart3, tmp, 1);
  /* USER CODE END USART3_Init 2 */

}

static void MX_USART6_UART_Init(void)
{

  huart6.Instance = USART6;
  huart6.Init.BaudRate = 115200;
  huart6.Init.WordLength = UART_WORDLENGTH_8B;
  huart6.Init.StopBits = UART_STOPBITS_1;
  huart6.Init.Parity = UART_PARITY_NONE;
  huart6.Init.Mode = UART_MODE_TX_RX;
  huart6.Init.HwFlowCtl = UART_HWCONTROL_RTS_CTS;
  huart6.Init.OverSampling = UART_OVERSAMPLING_16;
  huart6.Init.OneBitSampling = UART_ONE_BIT_SAMPLE_DISABLE;
  huart6.AdvancedInit.AdvFeatureInit = UART_ADVFEATURE_NO_INIT;
  if (HAL_UART_Init(&huart6) != HAL_OK)
  {
    Error_Handler();
  }
  /* USER CODE BEGIN USART6_Init 2 */
  HAL_UART_Receive_IT(&huart6, tmp, 1);
  /* USER CODE END USART6_Init 2 */

}

static void MX_USB_OTG_FS_PCD_Init(void)
{

  hpcd_USB_OTG_FS.Instance = USB_OTG_FS;
  hpcd_USB_OTG_FS.Init.dev_endpoints = 6;
  hpcd_USB_OTG_FS.Init.speed = PCD_SPEED_FULL;
  hpcd_USB_OTG_FS.Init.dma_enable = DISABLE;
  hpcd_USB_OTG_FS.Init.ep0_mps = DEP0CTL_MPS_64;
  hpcd_USB_OTG_FS.Init.phy_itface = PCD_PHY_EMBEDDED;
  hpcd_USB_OTG_FS.Init.Sof_enable = ENABLE;
  hpcd_USB_OTG_FS.Init.low_power_enable = DISABLE;
  hpcd_USB_OTG_FS.Init.lpm_enable = DISABLE;
  hpcd_USB_OTG_FS.Init.vbus_sensing_enable = ENABLE;
  hpcd_USB_OTG_FS.Init.use_dedicated_ep1 = DISABLE;
  if (HAL_PCD_Init(&hpcd_USB_OTG_FS) != HAL_OK)
  {
    Error_Handler();
  }

}

static void MX_GPIO_Init(void)
{
  GPIO_InitTypeDef GPIO_InitStruct = {0};

  /* GPIO Ports Clock Enable */
  __HAL_RCC_GPIOE_CLK_ENABLE();
  __HAL_RCC_GPIOC_CLK_ENABLE();
  __HAL_RCC_GPIOF_CLK_ENABLE();
  __HAL_RCC_GPIOH_CLK_ENABLE();
  __HAL_RCC_GPIOA_CLK_ENABLE();
  __HAL_RCC_GPIOB_CLK_ENABLE();
  __HAL_RCC_GPIOG_CLK_ENABLE();
  __HAL_RCC_GPIOD_CLK_ENABLE();

  /*Configure GPIO pin Output Level */
  HAL_GPIO_WritePin(IMU_RESET_GPIO_Port, IMU_RESET_Pin, GPIO_PIN_RESET);

  /*Configure GPIO pin Output Level */
  HAL_GPIO_WritePin(DRV_INA_GPIO_Port, DRV_INA_Pin, GPIO_PIN_RESET);

  /*Configure GPIO pin Output Level */
  HAL_GPIO_WritePin(GPIOB, LD1_Pin|LD3_Pin|SB_LED_EN_Pin|LD2_Pin, GPIO_PIN_RESET);

  /*Configure GPIO pin Output Level */
  HAL_GPIO_WritePin(GPIOG, DRV_INB_Pin|BT_AUTO_CONNECT_Pin|BT_nRESET_Pin|BT_UART_BAUD_FORCE_Pin
                          |BT_AUTO_MASTER_MODE_Pin|USB_PowerSwitchOn_Pin|EXP_nRESET_Pin, GPIO_PIN_RESET);

  /*Configure GPIO pin Output Level */
  HAL_GPIO_WritePin(BT_FACTORY_DEFAULTS_GPIO_Port, BT_FACTORY_DEFAULTS_Pin, GPIO_PIN_RESET);

  /*Configure GPIO pin : IMU_INT_Pin */
  GPIO_InitStruct.Pin = IMU_INT_Pin;
  GPIO_InitStruct.Mode = GPIO_MODE_IT_RISING;
  GPIO_InitStruct.Pull = GPIO_NOPULL;
  HAL_GPIO_Init(IMU_INT_GPIO_Port, &GPIO_InitStruct);

  /*Configure GPIO pin : IMU_RESET_Pin */
  GPIO_InitStruct.Pin = IMU_RESET_Pin;
  GPIO_InitStruct.Mode = GPIO_MODE_OUTPUT_PP;
  GPIO_InitStruct.Pull = GPIO_NOPULL;
  GPIO_InitStruct.Speed = GPIO_SPEED_FREQ_LOW;
  HAL_GPIO_Init(IMU_RESET_GPIO_Port, &GPIO_InitStruct);

  /*Configure GPIO pin : USER_Btn_Pin */
  GPIO_InitStruct.Pin = USER_Btn_Pin;
  GPIO_InitStruct.Mode = GPIO_MODE_IT_RISING;
  GPIO_InitStruct.Pull = GPIO_NOPULL;
  HAL_GPIO_Init(USER_Btn_GPIO_Port, &GPIO_InitStruct);

  /*Configure GPIO pin : DRV_INA_Pin */
  GPIO_InitStruct.Pin = DRV_INA_Pin;
  GPIO_InitStruct.Mode = GPIO_MODE_OUTPUT_PP;
  GPIO_InitStruct.Pull = GPIO_NOPULL;
  GPIO_InitStruct.Speed = GPIO_SPEED_FREQ_LOW;
  HAL_GPIO_Init(DRV_INA_GPIO_Port, &GPIO_InitStruct);

  /*Configure GPIO pins : LD1_Pin LD3_Pin SB_LED_EN_Pin LD2_Pin */
  GPIO_InitStruct.Pin = LD1_Pin|LD3_Pin|SB_LED_EN_Pin|LD2_Pin;
  GPIO_InitStruct.Mode = GPIO_MODE_OUTPUT_PP;
  GPIO_InitStruct.Pull = GPIO_NOPULL;
  GPIO_InitStruct.Speed = GPIO_SPEED_FREQ_LOW;
  HAL_GPIO_Init(GPIOB, &GPIO_InitStruct);

  /*Configure GPIO pins : DRV_INB_Pin BT_AUTO_CONNECT_Pin BT_nRESET_Pin BT_UART_BAUD_FORCE_Pin
                           BT_AUTO_MASTER_MODE_Pin USB_PowerSwitchOn_Pin EXP_nRESET_Pin */
  GPIO_InitStruct.Pin = DRV_INB_Pin|BT_AUTO_CONNECT_Pin|BT_nRESET_Pin|BT_UART_BAUD_FORCE_Pin
                          |BT_AUTO_MASTER_MODE_Pin|USB_PowerSwitchOn_Pin|EXP_nRESET_Pin;
  GPIO_InitStruct.Mode = GPIO_MODE_OUTPUT_PP;
  GPIO_InitStruct.Pull = GPIO_NOPULL;
  GPIO_InitStruct.Speed = GPIO_SPEED_FREQ_LOW;
  HAL_GPIO_Init(GPIOG, &GPIO_InitStruct);

  /*Configure GPIO pin : BT_FACTORY_DEFAULTS_Pin */
  GPIO_InitStruct.Pin = BT_FACTORY_DEFAULTS_Pin;
  GPIO_InitStruct.Mode = GPIO_MODE_OUTPUT_PP;
  GPIO_InitStruct.Pull = GPIO_NOPULL;
  GPIO_InitStruct.Speed = GPIO_SPEED_FREQ_LOW;
  HAL_GPIO_Init(BT_FACTORY_DEFAULTS_GPIO_Port, &GPIO_InitStruct);

  /*Configure GPIO pin : USB_OverCurrent_Pin */
  GPIO_InitStruct.Pin = USB_OverCurrent_Pin;
  GPIO_InitStruct.Mode = GPIO_MODE_INPUT;
  GPIO_InitStruct.Pull = GPIO_NOPULL;
  HAL_GPIO_Init(USB_OverCurrent_GPIO_Port, &GPIO_InitStruct);

  /*Configure GPIO pin : SENSE_INT_Pin */
  GPIO_InitStruct.Pin = SENSE_INT_Pin;
  GPIO_InitStruct.Mode = GPIO_MODE_IT_RISING;
  GPIO_InitStruct.Pull = GPIO_NOPULL;
  HAL_GPIO_Init(SENSE_INT_GPIO_Port, &GPIO_InitStruct);

}

/* USER CODE BEGIN 4 */
UART_PUTCHAR
{
     if(printf_mode == USB){
         HAL_UART_Transmit(&huart3, (uint8_t*) &ch, 1, 0xFFFF);
     }
     else if(printf_mode == BLUETOOTH){
         HAL_UART_Transmit(&huart6, (uint8_t*) &ch, 1, 0xFFFF);
     }
     else if(printf_mode == BOTH){
         HAL_UART_Transmit(&huart3, (uint8_t*) &ch, 1, 0xFFFF);
         HAL_UART_Transmit(&huart6, (uint8_t*) &ch, 1, 0xFFFF);
     }
     return ch;
}

void HAL_UART_RxCpltCallback(UART_HandleTypeDef *huart)
{
    if (huart->Instance == USART3||huart->Instance == USART6) {
        commands[counter] = tmp[0];
        counter++;
        if (tmp[0] == '\n') {
            commands[counter - 1] = '\0';
            counter = 0;
            parse_command(commands);
        }
        HAL_UART_Receive_IT(&huart, tmp, 1);
    }
}

void parse_command(char *input)
{
    char *tok;
    tok = strtok(input, " ");
    command_result_t result;

    if (!strcmp(tok, "SERVO")) {
        result = parse_servo_command(input);
    } else if (!strcmp(tok, "MOTOR")) {
        result = parse_motor_command(input);
    } else if (!strcmp(tok, "RGB_SENSOR")) {
        result = parse_rgb_sensor_command(input);
    } else if (!strcmp(tok, "ULTRA_SONIC")) {
        result = parse_ultra_sonic_command(input);
    } else if (!strcmp(tok, "RGB_LED")) {
        result = parse_rgb_led_command(input);
    } else if (!strcmp(tok, "PRINT")) {
        result = parse_print_command(input);
    } else if (!strcmp(tok, "ER")) {
        emergency_mode();
        result = ER_MODE;
    } else {
        result = BAD_COMMAND;
        printf("invalid component\r\n");
    }

    if (result == OK){
        HAL_GPIO_WritePin(GPIOB, LD1_Pin, GPIO_PIN_SET);
    }
    else if (result == INVALID_ARGUMENT){
        HAL_GPIO_WritePin(GPIOB, LD2_Pin, GPIO_PIN_SET);
    }
    else if (result == BAD_COMMAND){
            HAL_GPIO_WritePin(GPIOB, LD3_Pin, GPIO_PIN_SET);
        }
    else if (result == ER_MODE){
        HAL_GPIO_WritePin(GPIOB, LD3_Pin, GPIO_PIN_SET);
        HAL_GPIO_WritePin(GPIOB, LD2_Pin, GPIO_PIN_SET);
        HAL_GPIO_WritePin(GPIOB, LD1_Pin, GPIO_PIN_SET);
    }

}
command_result_t parse_servo_command(char *input)
{
    char *direction;
    char *percentage;
    char *nptr = NULL;
    int int_value;
    direction = strtok(NULL, " ");
    percentage = strtok(NULL, "\n");
    int_value = strtol(percentage, &nptr, 10);

    if (((int_value) > 99) || (int_value < 0))
        return INVALID_ARGUMENT;

    if ((!strcmp(direction, "R"))) {
        servo_control(SERVO_RIGHT, int_value);
        return OK;
    } else if ((!strcmp(direction, "L"))) {
        servo_control(SERVO_LEFT, int_value);
        return OK;
    } else if (percentage == nptr) {
        printf("invalid servo values\r\n");
        return INVALID_ARGUMENT;
    } else {
        printf("invalid direction(R/L) \r\n");
        return BAD_COMMAND;
    }
}
command_result_t parse_motor_command(char *input)
{
    char *direction;
    char *percentage;
    char *nptr = NULL;
    int int_value;
    direction = strtok(NULL, " ");
    percentage = strtok(NULL, "\n");
    int_value = strtol(percentage, &nptr, 10);

    if (((int_value) > 99) || (int_value < 0))
        return INVALID_ARGUMENT;

    if ((!strcmp(direction, "FWD"))) {
        motor_control(FORWARD, int_value);
        return OK;
    } else if ((!strcmp(direction, "BCK"))) {
        motor_control(BACKWARD, int_value);
        return OK;
    } else if (percentage == nptr) {
        printf("invalid motor values\r\n");
        return INVALID_ARGUMENT;
    } else {
        printf("invalid direction (FWD/BCK)\r\n");
        return INVALID_ARGUMENT;
    }
}
command_result_t parse_rgb_sensor_command(char *input)
{
    char * sensor_register;
    char * sensor_number;
    char * nptr = NULL;
    int int_value;
    sensor_register = strtok(NULL, " ");
    sensor_number = strtok(NULL, "\n");
    int_value = strtol(sensor_number, &nptr, 10);

    if (((int_value) > 8) || (int_value < 1))
        return INVALID_ARGUMENT;

    if ((!strcmp(sensor_register, "R"))) {
        rgb_control(R, int_value);
        return OK;
    } else if ((!strcmp(sensor_register, "G"))) {
        rgb_control(G, int_value);
        return OK;
    } else if ((!strcmp(sensor_register, "B"))) {
        rgb_control(B, int_value);
        return OK;
    } else if ((!strcmp(sensor_register, "C"))) {
        rgb_control(C, int_value);
        return OK;
    } else if ((!strcmp(sensor_register, "COLOR"))) {
        rgb_control(COLOR, int_value);
        return OK;
    } else if (sensor_number == nptr) {
        printf("invalid RGB_LED values\r\n");
        return INVALID_ARGUMENT;
    } else {
        printf("invalid RGB CODE values (R/G/B/C/COLOR) \r\n");
        return BAD_COMMAND;
    }
}
command_result_t parse_ultra_sonic_command(char *input)
{
    char *mode;

    mode = strtok(NULL, " ");

    if (!strcmp(mode, "ENABLE")) {
        us_control(US_ENABLE);
        return OK;
    } else if (!strcmp(mode, "DISABLE")) {
        us_control(US_DISABLE);
        return OK;
    } else if (!strcmp(mode, "DISTANCE")) {
        us_control(US_DISTANCE);
        return OK;
    } else {
        printf("invalid US values (ENABLE/DISABLE/DISTANCE) \r\n");
        return INVALID_ARGUMENT;
    }
}
command_result_t parse_rgb_led_command(char *input)
{
    char *power_mode;
    char *rgb_led_number;
    char *nptr = NULL;
    int int_value;

    power_mode = strtok(NULL, " ");
    rgb_led_number = strtok(NULL, "\n");

    int_value = strtol(rgb_led_number, &nptr, 10);

    if (((int_value) > 8) || (int_value < 1))
        return INVALID_ARGUMENT;

    if ((!strcmp(power_mode, "ON"))) {
        rgb_led_control(ON, int_value);
    } else if ((!strcmp(power_mode, "OFF"))) {
        rgb_led_control(OFF, int_value);
    } else if (rgb_led_number == nptr) {
        printf("invalid RGB_LED values\n");
        return INVALID_ARGUMENT;
    } else {
        printf("invalid LED power mode (ON/OFF) \r\n");
        return BAD_COMMAND;
    }
    return OK;
}
command_result_t parse_print_command(char *input)
{
    char *mode;

    mode = strtok(NULL, " ");

    if (!strcmp(mode, "USB")) {
        print_control(USB);
        return OK;
    } else if (!strcmp(mode, "BT")) {
        print_control(BLUETOOTH);
        return OK;
    } else if (!strcmp(mode, "BOTH")) {
        print_control(BOTH);
        return OK;
    } else {
        printf("Invalid Print mode\r\n");
        return INVALID_ARGUMENT;
    }
}

void servo_control(servo_direction_t servo_direction, int percentage)
{
    printf("direction: %d \r\n", servo_direction);
    printf("percentage: %d \r\n", percentage);
    printf("SERVO_CONTROL_HELYE\r\n");
}
void motor_control(motor_direction_t motor_direction, int percentage)
{
    printf("direction: %d \r\n", motor_direction);
    printf("percentage: %d \r\n", percentage);
    printf("MOTOR_CONTROL_HELYE\r\n");
}
void rgb_control(rgb_sensor_list_t rgb_sensor_list, int led_numb)
{
    printf("code: %d\r\n", rgb_sensor_list);
    printf("led_numb: %d\r\n", led_numb);
    printf("RGB_CONTROL_HELYE\r\n");
}
void us_control(ultra_sonic_mode_t ultra_sonic_mode)
{
    printf("mode: %d\r\n", ultra_sonic_mode);
    printf("US_CONTROL_HELYE\r\n");
}
void rgb_led_control(rgb_led_power_t rgb_led_power, int led_numb)
{
    printf("power: %d\r\n", rgb_led_power);
    printf("led_numb: %d\r\n", led_numb);
    printf("RGB_LED_CONTROL_HELYE\r\n");
}
void print_control(printf_modes_t printf_modes)
{
    printf("MODE: %d\r\n", printf_modes);
    if(printf_modes==BOTH){
        printf_mode = BOTH;
    }
    else if(printf_modes==BLUETOOTH){
        printf_mode = BLUETOOTH;
    }else if(printf_modes==USB){
        printf_mode = USB;
    }

}
void emergency_mode()
{

    printf("EMERGENCY MODE!!!!444\r\n");
}

void HAL_TIM_IC_CaptureCallback(TIM_HandleTypeDef *htim)
{
    if(htim->Instance == TIM9){
        int tim9_cnt = TIM9->CNT;
        float steps = hall_overflow * 65535 + tim9_cnt - hall_previous;
        hall_previous = tim9_cnt;
        float freq = 216000000 / steps;
        hall_overflow = 0;
        moving_speed_kmh = freq * M_PI * 0.06 * 3.6;
    }
}

void drive(int speed)
{
   int ctrl_speed = speed;
   if(ctrl_speed > 0){

   HAL_GPIO_WritePin(GPIOB, GPIO_PIN_10, GPIO_PIN_SET);
   //forward 77 - 100% moves -> 0.23
   //backward 0 - 24% moves -> 0.24
   float speed_pwm;
   if(motor_direction == FORWARD){
       HAL_GPIO_WritePin(GPIOF, GPIO_PIN_1, GPIO_PIN_SET);
       HAL_GPIO_WritePin(GPIOG, GPIO_PIN_0, GPIO_PIN_RESET);
       speed_pwm = htim2.Init.Period * (0.77 + (float) ctrl_speed * 0.23 / 100);
       __HAL_TIM_SET_COMPARE(&htim2, TIM_CHANNEL_1, speed_pwm);
   } else if(motor_direction == BACKWARD){
       HAL_GPIO_WritePin(GPIOF, GPIO_PIN_1, GPIO_PIN_RESET);
       HAL_GPIO_WritePin(GPIOG, GPIO_PIN_0, GPIO_PIN_SET);
       speed_pwm = htim2.Init.Period * (0.24 - (float) ctrl_speed * 0.24 / 100);
       __HAL_TIM_SET_COMPARE(&htim2, TIM_CHANNEL_1, speed_pwm);
   }
   }else if(ctrl_speed <= 0){
       brake();
   }
}

void brake()
{
    HAL_GPIO_WritePin(GPIOF, GPIO_PIN_1, GPIO_PIN_SET);
    HAL_GPIO_WritePin(GPIOG, GPIO_PIN_0, GPIO_PIN_SET);
}

/* USER CODE END 4 */

void StartDefaultTask(void const * argument)
{

  /* USER CODE BEGIN 5 */
   // commands = (char *) malloc(40);

    HAL_GPIO_WritePin(GPIOG,BT_nRESET_Pin,GPIO_PIN_SET);
    printf(
                "Greetings! The car waits for your commands! \r\n"
                        "You have to put the instructions the FOLLOWING WAY, or it CAN'T accept it\r\n"
                        "--->COMPONENT Value1 Value2<---\r\n"
                        "Component list:   |       Value1:         |    Value2\r\n"
                        "MOTOR             |       FWD/BCK         |     0-99\r\n"
                        "SERVO             |         R/L           |     0-99\r\n"
                        "ULTRA_SONIC       |ENABLE/DISABLE/DISTANCE|     --- \r\n"
                        "RGB_SENSOR        |     R,G,B,C,COLOR     |   1-8, 9=ALL\r\n"
                        "RGB_LED           |        ON/OFF         |   1-8, 9=ALL\r\n"
                        "PRINT             |      USB/BT/BOTH      |     ---\r\n"
                        "-----------FOR EMERGENCY PRESS---->  ER  <--------------\r\n");

    //commands = (char *) realloc(commands, strlen(commands));

   // osDelay(1000);

  /* Infinite loop */
  for(;;)
  {

  }
  /* USER CODE END 5 */
}

void HAL_TIM_PeriodElapsedCallback(TIM_HandleTypeDef *htim)
{
  if (htim->Instance == TIM14) {
    HAL_IncTick();
  }
  /* USER CODE BEGIN Callback 1 */
  if(htim->Instance == TIM9){
      hall_overflow++;
  }
  /* USER CODE END Callback 1 */
}

void Error_Handler(void)
{
}

/************************ (C) COPYRIGHT STMicroelectronics *****END OF FILE****/
